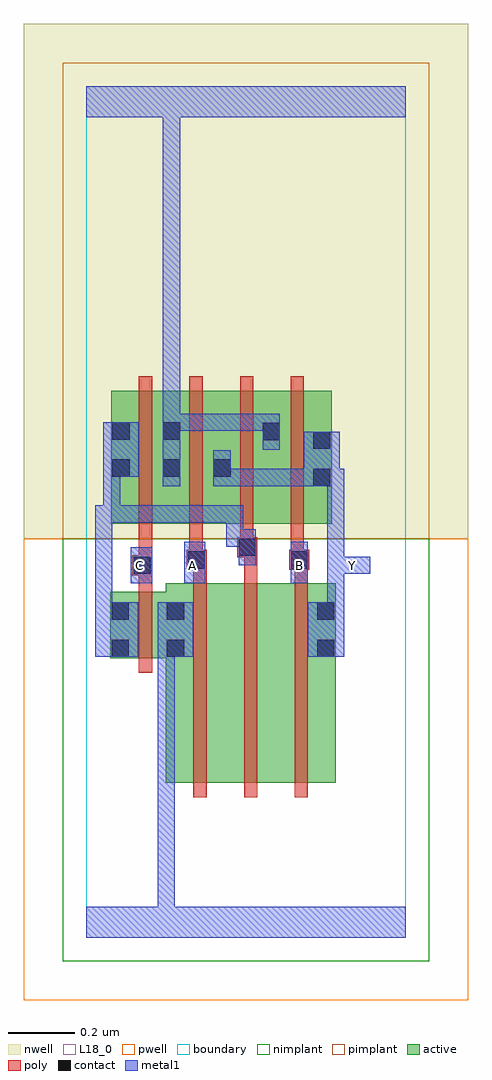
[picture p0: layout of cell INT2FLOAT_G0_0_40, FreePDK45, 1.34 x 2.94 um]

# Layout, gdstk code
import gdstk
lib = gdstk.Library(unit=1e-6, precision=1e-09)
def R(c, l, rs):  # rectangles x0, y0, x1, y1
    for r in rs: c.add(gdstk.rectangle(r[:2], r[2:], *l))
def A(c, l, x, y, w, h, nx, ny, dx, dy):  # array of equal rectangles
    R(c, l, [(x+i*dx, y+j*dy, x+i*dx+w, y+j*dy+h) for i in range(nx) for j in range(ny)])
active = (1, 0)
pwell = (2, 0)
nwell = (3, 0)
nimplant = (4, 0)
pimplant = (5, 0)
poly = (9, 0)
contact = (10, 0)
metal1 = (11, 0)
L18_0 = (18, 0)
boundary = (235, 0)

int2float_g0_0_40 = lib.new_cell('INT2FLOAT_G0_0_40')
R(int2float_g0_0_40, active, [(0.238,0.466,0.418,1.066), (0.418,0.466,0.57,1.066), (0.57,0.466,0.75,1.066), (0.69,0.556,0.75,1.066), (0.238,0.684,0.298,1.028), (0.072,0.84,0.298,1.04), (0.072,0.84,0.132,1.04), (0.074,1.244,0.134,1.644), (0.074,1.244,0.286,1.644), (0.226,1.244,0.438,1.644), (0.378,1.244,0.586,1.644), (0.526,1.244,0.738,1.644), (0.678,1.244,0.738,1.644), (0.226,1.338,0.286,1.644), (0.378,1.382,0.438,1.644), (0.526,1.476,0.586,1.644)])
R(int2float_g0_0_40, pwell, [(-0.188,-0.188,1.148,1.2)])
R(int2float_g0_0_40, nwell, [(-0.188,1.2,1.148,2.748)])
R(int2float_g0_0_40, nimplant, [(-0.072,-0.072,1.032,1.2)])
R(int2float_g0_0_40, pimplant, [(-0.072,1.2,1.032,2.632)])
A(int2float_g0_0_40, poly, 0.322, 0.422, 0.04, 0.688, 3, 1, 0.152, 0)
A(int2float_g0_0_40, poly, 0.158, 1.2, 0.04, 0.488, 4, 1, 0.152, 0)
R(int2float_g0_0_40, poly, [(0.158,0.796,0.198,1.084), (0.158,1.044,0.198,1.13), (0.322,1.07,0.362,1.146), (0.474,1.07,0.514,1.184), (0.626,1.07,0.666,1.146), (0.138,1.09,0.198,1.15), (0.302,1.106,0.362,1.166), (0.61,1.106,0.67,1.166), (0.158,1.11,0.198,1.15), (0.158,1.11,0.198,1.15), (0.158,1.11,0.198,1.24), (0.31,1.126,0.35,1.198), (0.614,1.126,0.654,1.24), (0.614,1.126,0.654,1.166), (0.614,1.126,0.654,1.166), (0.454,1.144,0.514,1.204), (0.474,1.144,0.514,1.184), (0.474,1.144,0.514,1.184), (0.31,1.158,0.35,1.198), (0.31,1.158,0.35,1.24), (0.462,1.164,0.502,1.24)])
A(int2float_g0_0_40, contact, 0.078, 1.386, 0.052, 0.052, 3, 1, 0.152, 0)
R(int2float_g0_0_40, contact, [(0.076,0.844,0.128,0.896), (0.242,0.844,0.294,0.896), (0.694,0.844,0.746,0.896), (0.076,0.956,0.128,1.008), (0.242,0.956,0.294,1.008), (0.694,0.956,0.746,1.008), (0.142,1.094,0.194,1.146), (0.306,1.11,0.358,1.162), (0.614,1.11,0.666,1.162), (0.458,1.148,0.51,1.2), (0.682,1.358,0.734,1.41), (0.682,1.47,0.734,1.522), (0.53,1.496,0.582,1.548), (0.078,1.498,0.13,1.55), (0.23,1.498,0.282,1.55)])
R(int2float_g0_0_40, metal1, [(0,0,0.96,0.092), (0.214,0.04,0.266,0.896), (0.026,0.844,0.156,1.008), (0.214,0.844,0.266,0.896), (0.214,0.844,0.266,0.896), (0.214,0.844,0.266,0.896), (0.214,0.844,0.266,0.896), (0.214,0.844,0.266,0.896), (0.214,0.844,0.266,0.896), (0.214,0.844,0.266,0.896), (0.214,0.844,0.266,0.896), (0.214,0.844,0.322,1.008), (0.666,0.844,0.776,1.008), (0.026,0.956,0.078,1.008), (0.026,0.956,0.078,1.008), (0.026,0.956,0.078,1.3), (0.724,0.956,0.776,1.146), (0.134,1.066,0.198,1.174), (0.294,1.066,0.358,1.19), (0.614,1.066,0.666,1.19), (0.724,1.094,0.776,1.41), (0.724,1.094,0.854,1.146), (0.458,1.12,0.51,1.228), (0.42,1.176,0.472,1.3), (0.42,1.176,0.51,1.228), (0.026,1.248,0.102,1.3), (0.05,1.248,0.102,1.3), (0.05,1.248,0.102,1.3), (0.05,1.248,0.102,1.438), (0.05,1.248,0.282,1.3), (0.23,1.248,0.282,1.3), (0.23,1.248,0.282,1.3), (0.23,1.248,0.282,1.3), (0.23,1.248,0.472,1.3), (0.23,1.358,0.282,1.578), (0.382,1.358,0.434,1.41), (0.382,1.358,0.434,1.41), (0.382,1.358,0.434,1.466), (0.382,1.358,0.596,1.41), (0.544,1.358,0.596,1.41), (0.544,1.358,0.596,1.41), (0.544,1.358,0.596,1.41), (0.544,1.358,0.706,1.41), (0.654,1.358,0.762,1.522), (0.71,1.358,0.762,1.41), (0.71,1.358,0.776,1.41), (0.05,1.386,0.158,1.55), (0.53,1.468,0.582,1.576), (0.23,1.524,0.282,1.576), (0.23,1.524,0.282,1.576), (0.23,1.524,0.392,1.576), (0.34,1.524,0.392,1.576), (0.34,1.524,0.392,1.576), (0.34,1.524,0.392,1.576), (0.34,1.524,0.582,1.576), (0.23,1.526,0.282,2.52), (0,2.468,0.96,2.56), (0.23,2.468,0.282,2.52), (0.23,2.468,0.282,2.52), (0.23,2.468,0.282,2.52), (0.23,2.468,0.282,2.52), (0.23,2.468,0.282,2.52), (0.23,2.468,0.282,2.52), (0.23,2.468,0.282,2.52), (0.23,2.468,0.282,2.52), (0.23,2.468,0.282,2.52), (0.23,2.468,0.282,2.52), (0.23,2.468,0.282,2.52), (0.23,2.468,0.282,2.52), (0.23,2.468,0.282,2.52), (0.23,2.468,0.282,2.52), (0.23,2.468,0.282,2.52), (0.23,2.468,0.282,2.52)])
R(int2float_g0_0_40, L18_0, [(0,0,0.96,0.092), (0.214,0.04,0.266,0.896), (0.214,0.844,0.266,0.896), (0.214,0.844,0.266,0.896), (0.214,0.844,0.266,0.896), (0.214,0.844,0.266,0.896), (0.214,0.844,0.266,0.896), (0.214,0.844,0.266,0.896), (0.214,0.844,0.266,0.896), (0.214,0.844,0.266,0.896), (0.214,0.844,0.322,1.008), (0.666,0.844,0.776,1.008), (0.724,0.956,0.776,1.146), (0.134,1.066,0.198,1.174), (0.294,1.066,0.358,1.19), (0.614,1.066,0.666,1.19), (0.134,1.094,0.186,1.146), (0.294,1.094,0.346,1.146), (0.614,1.094,0.666,1.146), (0.724,1.094,0.854,1.146), (0.724,1.094,0.776,1.41), (0.774,1.094,0.826,1.146), (0.23,1.358,0.282,1.578), (0.382,1.358,0.434,1.41), (0.382,1.358,0.434,1.41), (0.382,1.358,0.434,1.466), (0.382,1.358,0.596,1.41), (0.544,1.358,0.596,1.41), (0.544,1.358,0.596,1.41), (0.544,1.358,0.596,1.41), (0.544,1.358,0.706,1.41), (0.654,1.358,0.762,1.522), (0.71,1.358,0.762,1.41), (0.71,1.358,0.776,1.41), (0.53,1.468,0.582,1.576), (0.23,1.524,0.282,1.576), (0.23,1.524,0.282,1.576), (0.23,1.524,0.392,1.576), (0.34,1.524,0.392,1.576), (0.34,1.524,0.392,1.576), (0.34,1.524,0.392,1.576), (0.34,1.524,0.582,1.576), (0.23,1.526,0.282,2.52), (0,2.468,0.96,2.56), (0.23,2.468,0.282,2.52), (0.23,2.468,0.282,2.52), (0.23,2.468,0.282,2.52), (0.23,2.468,0.282,2.52), (0.23,2.468,0.282,2.52), (0.23,2.468,0.282,2.52), (0.23,2.468,0.282,2.52), (0.23,2.468,0.282,2.52), (0.23,2.468,0.282,2.52), (0.23,2.468,0.282,2.52), (0.23,2.468,0.282,2.52), (0.23,2.468,0.282,2.52), (0.23,2.468,0.282,2.52), (0.23,2.468,0.282,2.52), (0.23,2.468,0.282,2.52), (0.23,2.468,0.282,2.52)])
R(int2float_g0_0_40, boundary, [(0,0,0.96,2.56)])
int2float_g0_0_40.add(gdstk.Label('A', (0.32,1.12), layer=11, texttype=0))
int2float_g0_0_40.add(gdstk.Label('B', (0.64,1.12), layer=11, texttype=0))
int2float_g0_0_40.add(gdstk.Label('C', (0.16,1.12), layer=11, texttype=0))
int2float_g0_0_40.add(gdstk.Label('Y', (0.8,1.12), layer=11, texttype=0))

lib.write_gds('INT2FLOAT_G0_0_40.gds')
